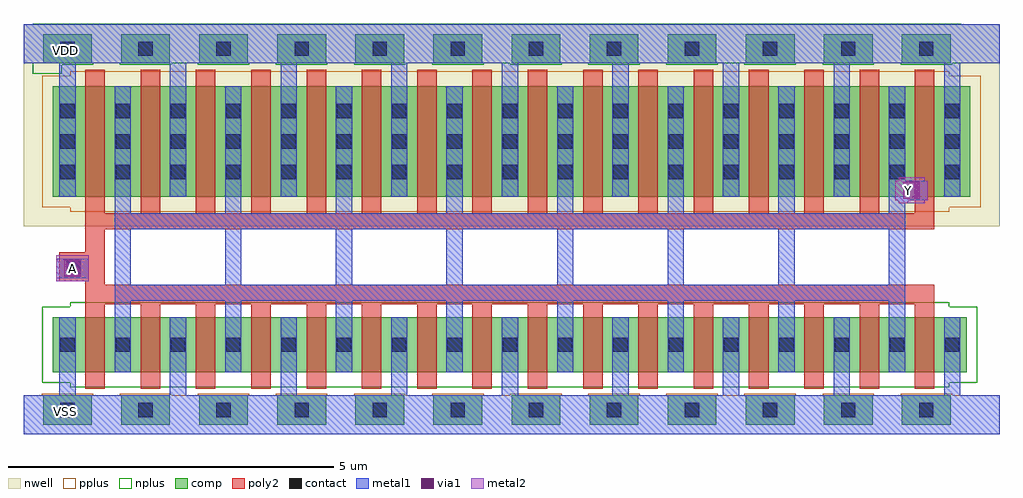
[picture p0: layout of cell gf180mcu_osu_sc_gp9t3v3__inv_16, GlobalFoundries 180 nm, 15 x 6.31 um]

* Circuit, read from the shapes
.subckt gf180mcu_osu_sc_gp9t3v3__inv_16 A VDD VSS Y
XM1 Y A VSS VSS nfet_03v3 w=0.85u l=0.3u m=16
XM2 Y A VDD VDD pfet_03v3 w=1.7u l=0.3u m=16
.ends

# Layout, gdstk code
import gdstk
lib = gdstk.Library(unit=1e-6, precision=1e-09)
def R(c, l, rs):  # rectangles x0, y0, x1, y1
    for r in rs: c.add(gdstk.rectangle(r[:2], r[2:], *l))
def A(c, l, x, y, w, h, nx, ny, dx, dy):  # array of equal rectangles
    R(c, l, [(x+i*dx, y+j*dy, x+i*dx+w, y+j*dy+h) for i in range(nx) for j in range(ny)])
nwell = (21, 0)
comp = (22, 0)
poly2 = (30, 0)
pplus = (31, 0)
nplus = (32, 0)
contact = (33, 0)
metal1 = (34, 0)
via1 = (35, 0)
metal2 = (36, 0)

gf180mcu_osu_sc_gp9t3v3_ = lib.new_cell('gf180mcu_osu_sc_gp9t3v3__inv_16')
R(gf180mcu_osu_sc_gp9t3v3_, nwell, [(0,3.2,15,6.3)])
A(gf180mcu_osu_sc_gp9t3v3_, comp, 0.3, 0.15, 0.75, 0.45, 12, 2, 1.2, 5.55)
R(gf180mcu_osu_sc_gp9t3v3_, comp, [(0.45,0.95,14.5,1.8), (0.45,3.65,14.55,5.35)])
A(gf180mcu_osu_sc_gp9t3v3_, poly2, 0.95, 0.7, 0.3, 1.3, 16, 1, 0.85, 0)
A(gf180mcu_osu_sc_gp9t3v3_, poly2, 0.95, 3.4, 0.3, 2.2, 16, 1, 0.85, 0)
R(gf180mcu_osu_sc_gp9t3v3_, poly2, [(0.95,2,14,2.3), (0.95,2.3,1.25,2.35), (0.55,2.35,1.25,2.8), (0.95,2.8,1.25,3.15), (0.95,3.15,14,3.4)])
A(gf180mcu_osu_sc_gp9t3v3_, pplus, 0.28, 0.13, 0.79, 0.49, 12, 1, 1.2, 0)
R(gf180mcu_osu_sc_gp9t3v3_, pplus, [(0,0,15,0.6), (0.72,3.42,14.23,3.49), (0.29,3.49,14.71,5.51), (0.72,5.51,14.23,5.58)])
A(gf180mcu_osu_sc_gp9t3v3_, nplus, 1.48, 5.68, 0.79, 0.02, 11, 1, 1.2, 0)
R(gf180mcu_osu_sc_gp9t3v3_, nplus, [(0.72,0.72,14.23,0.79), (0.29,0.79,14.66,1.96), (0.72,1.96,14.23,2.03), (0.14,5.54,0.59,5.68), (0.14,5.68,1.07,5.7), (0,5.7,15,6.3), (0,5.7,15,6.3), (0.14,6.3,14.41,6.31)])
A(gf180mcu_osu_sc_gp9t3v3_, contact, 0.565, 0.265, 0.22, 0.22, 12, 2, 1.2, 5.55)
A(gf180mcu_osu_sc_gp9t3v3_, contact, 0.565, 1.265, 0.22, 0.22, 17, 2, 0.85, 2.655)
A(gf180mcu_osu_sc_gp9t3v3_, contact, 0.565, 4.39, 0.22, 0.22, 17, 2, 0.85, 0.47)
R(gf180mcu_osu_sc_gp9t3v3_, contact, [(0.665,2.465,0.885,2.685)])
A(gf180mcu_osu_sc_gp9t3v3_, metal1, 0.55, 0.6, 0.25, 1.2, 9, 1, 1.7, 0)
A(gf180mcu_osu_sc_gp9t3v3_, metal1, 1.4, 0.95, 0.25, 1.1, 8, 1, 1.7, 0)
A(gf180mcu_osu_sc_gp9t3v3_, metal1, 1.4, 2.3, 0.25, 0.85, 8, 1, 1.7, 0)
A(gf180mcu_osu_sc_gp9t3v3_, metal1, 1.4, 3.4, 0.25, 1.95, 7, 1, 1.7, 0)
A(gf180mcu_osu_sc_gp9t3v3_, metal1, 0.55, 3.65, 0.25, 2.05, 9, 1, 1.7, 0)
R(gf180mcu_osu_sc_gp9t3v3_, metal1, [(0,0,15,0.6), (1.4,2.05,13.55,2.3), (0.5,2.4,1,2.7), (1.4,3.15,13.55,3.4), (13.3,3.4,13.55,3.55), (13.3,3.55,13.6,3.6), (13.3,3.6,13.9,3.9), (13.3,3.9,13.55,5.35), (0,5.7,15,6.3)])
R(gf180mcu_osu_sc_gp9t3v3_, via1, [(0.62,2.42,0.88,2.68), (13.52,3.62,13.78,3.88)])
R(gf180mcu_osu_sc_gp9t3v3_, metal2, [(0.5,2.35,1,2.75), (13.45,3.55,13.85,3.6), (13.4,3.6,13.9,3.9), (13.45,3.9,13.85,3.95)])
gf180mcu_osu_sc_gp9t3v3_.add(gdstk.Label('A', (0.75,2.55), layer=36, texttype=10))
gf180mcu_osu_sc_gp9t3v3_.add(gdstk.Label('Y', (13.6,3.75), layer=36, texttype=10))
gf180mcu_osu_sc_gp9t3v3_.add(gdstk.Label('VDD', (0.65,5.9), layer=22, texttype=0))
gf180mcu_osu_sc_gp9t3v3_.add(gdstk.Label('VSS', (0.65,0.35), layer=22, texttype=0))

lib.write_gds('gf180mcu_osu_sc_gp9t3v3__inv_16.gds')
